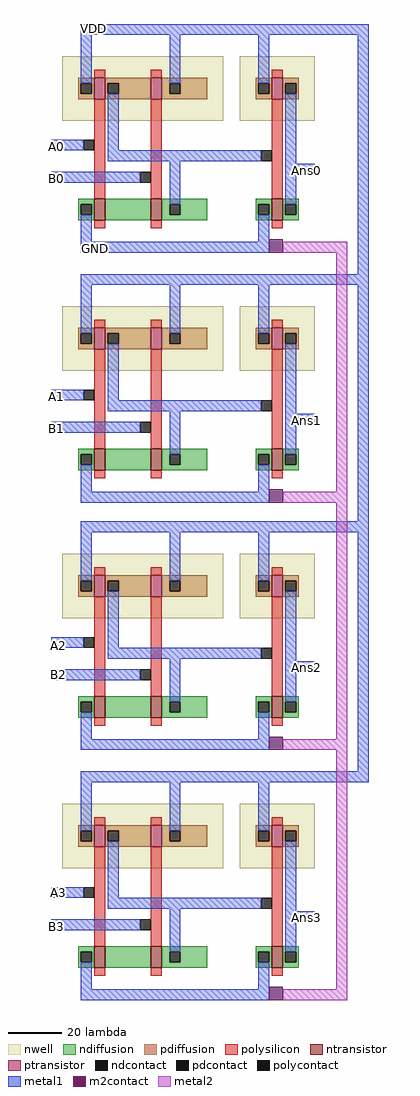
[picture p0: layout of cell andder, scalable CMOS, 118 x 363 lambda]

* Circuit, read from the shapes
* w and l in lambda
.subckt andder A0 A1 A2 A3 Ans0 Ans1 Ans2 Ans3 B0 B1 B2 B3 GND VDD
M1 n1 A3 GND VSUBS nfet w=8 l=4
M2 n2 A2 GND VSUBS nfet w=8 l=4
M3 n3 A1 GND VSUBS nfet w=8 l=4
M4 n4 A0 GND VSUBS nfet w=8 l=4
M5 n5 B3 n1 VSUBS nfet w=8 l=4
M6 n6 B2 n2 VSUBS nfet w=8 l=4
M7 n7 B1 n3 VSUBS nfet w=8 l=4
M8 n8 B0 n4 VSUBS nfet w=8 l=4
M9 Ans3 n5 GND VSUBS nfet w=8 l=4
M10 Ans2 n6 GND VSUBS nfet w=8 l=4
M11 Ans1 n7 GND VSUBS nfet w=8 l=4
M12 Ans0 n8 GND VSUBS nfet w=8 l=4
M13 n5 A3 VDD n9 pfet w=8 l=4
M14 n6 A2 VDD n10 pfet w=8 l=4
M15 n7 A1 VDD n11 pfet w=8 l=4
M16 n8 A0 VDD n12 pfet w=8 l=4
M17 VDD B3 n5 n9 pfet w=8 l=4
M18 VDD B2 n6 n10 pfet w=8 l=4
M19 VDD B1 n7 n11 pfet w=8 l=4
M20 VDD B0 n8 n12 pfet w=8 l=4
M21 Ans3 n5 VDD n13 pfet w=8 l=4
M22 Ans2 n6 VDD n14 pfet w=8 l=4
M23 Ans1 n7 VDD n15 pfet w=8 l=4
M24 Ans0 n8 VDD n16 pfet w=8 l=4
.ends

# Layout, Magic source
magic
tech scmos
<< nwell >>
rect 21 0 81 24
rect 87 0 115 24
rect 21 -93 81 -69
rect 87 -93 115 -69
rect 21 -185 81 -161
rect 87 -185 115 -161
rect 21 -278 81 -254
rect 87 -278 115 -254
<< ntransistor >>
rect 33 -37 37 -29
rect 54 -37 58 -29
rect 99 -37 103 -29
rect 33 -130 37 -122
rect 54 -130 58 -122
rect 99 -130 103 -122
rect 33 -222 37 -214
rect 54 -222 58 -214
rect 99 -222 103 -214
rect 33 -315 37 -307
rect 54 -315 58 -307
rect 99 -315 103 -307
<< ptransistor >>
rect 33 8 37 16
rect 54 8 58 16
rect 99 8 103 16
rect 33 -85 37 -77
rect 54 -85 58 -77
rect 99 -85 103 -77
rect 33 -177 37 -169
rect 54 -177 58 -169
rect 99 -177 103 -169
rect 33 -270 37 -262
rect 54 -270 58 -262
rect 99 -270 103 -262
<< ndiffusion >>
rect 27 -31 33 -29
rect 27 -35 28 -31
rect 32 -35 33 -31
rect 27 -37 33 -35
rect 37 -37 54 -29
rect 58 -31 75 -29
rect 58 -35 61 -31
rect 65 -35 75 -31
rect 58 -37 75 -35
rect 93 -31 99 -29
rect 93 -35 94 -31
rect 98 -35 99 -31
rect 93 -37 99 -35
rect 103 -31 109 -29
rect 103 -35 104 -31
rect 108 -35 109 -31
rect 103 -37 109 -35
rect 27 -124 33 -122
rect 27 -128 28 -124
rect 32 -128 33 -124
rect 27 -130 33 -128
rect 37 -130 54 -122
rect 58 -124 75 -122
rect 58 -128 61 -124
rect 65 -128 75 -124
rect 58 -130 75 -128
rect 93 -124 99 -122
rect 93 -128 94 -124
rect 98 -128 99 -124
rect 93 -130 99 -128
rect 103 -124 109 -122
rect 103 -128 104 -124
rect 108 -128 109 -124
rect 103 -130 109 -128
rect 27 -216 33 -214
rect 27 -220 28 -216
rect 32 -220 33 -216
rect 27 -222 33 -220
rect 37 -222 54 -214
rect 58 -216 75 -214
rect 58 -220 61 -216
rect 65 -220 75 -216
rect 58 -222 75 -220
rect 93 -216 99 -214
rect 93 -220 94 -216
rect 98 -220 99 -216
rect 93 -222 99 -220
rect 103 -216 109 -214
rect 103 -220 104 -216
rect 108 -220 109 -216
rect 103 -222 109 -220
rect 27 -309 33 -307
rect 27 -313 28 -309
rect 32 -313 33 -309
rect 27 -315 33 -313
rect 37 -315 54 -307
rect 58 -309 75 -307
rect 58 -313 61 -309
rect 65 -313 75 -309
rect 58 -315 75 -313
rect 93 -309 99 -307
rect 93 -313 94 -309
rect 98 -313 99 -309
rect 93 -315 99 -313
rect 103 -309 109 -307
rect 103 -313 104 -309
rect 108 -313 109 -309
rect 103 -315 109 -313
<< pdiffusion >>
rect 27 14 33 16
rect 27 10 28 14
rect 32 10 33 14
rect 27 8 33 10
rect 37 14 54 16
rect 37 10 38 14
rect 42 10 54 14
rect 37 8 54 10
rect 58 14 75 16
rect 58 10 61 14
rect 65 10 75 14
rect 58 8 75 10
rect 93 14 99 16
rect 93 10 94 14
rect 98 10 99 14
rect 93 8 99 10
rect 103 14 109 16
rect 103 10 104 14
rect 108 10 109 14
rect 103 8 109 10
rect 27 -79 33 -77
rect 27 -83 28 -79
rect 32 -83 33 -79
rect 27 -85 33 -83
rect 37 -79 54 -77
rect 37 -83 38 -79
rect 42 -83 54 -79
rect 37 -85 54 -83
rect 58 -79 75 -77
rect 58 -83 61 -79
rect 65 -83 75 -79
rect 58 -85 75 -83
rect 93 -79 99 -77
rect 93 -83 94 -79
rect 98 -83 99 -79
rect 93 -85 99 -83
rect 103 -79 109 -77
rect 103 -83 104 -79
rect 108 -83 109 -79
rect 103 -85 109 -83
rect 27 -171 33 -169
rect 27 -175 28 -171
rect 32 -175 33 -171
rect 27 -177 33 -175
rect 37 -171 54 -169
rect 37 -175 38 -171
rect 42 -175 54 -171
rect 37 -177 54 -175
rect 58 -171 75 -169
rect 58 -175 61 -171
rect 65 -175 75 -171
rect 58 -177 75 -175
rect 93 -171 99 -169
rect 93 -175 94 -171
rect 98 -175 99 -171
rect 93 -177 99 -175
rect 103 -171 109 -169
rect 103 -175 104 -171
rect 108 -175 109 -171
rect 103 -177 109 -175
rect 27 -264 33 -262
rect 27 -268 28 -264
rect 32 -268 33 -264
rect 27 -270 33 -268
rect 37 -264 54 -262
rect 37 -268 38 -264
rect 42 -268 54 -264
rect 37 -270 54 -268
rect 58 -264 75 -262
rect 58 -268 61 -264
rect 65 -268 75 -264
rect 58 -270 75 -268
rect 93 -264 99 -262
rect 93 -268 94 -264
rect 98 -268 99 -264
rect 93 -270 99 -268
rect 103 -264 109 -262
rect 103 -268 104 -264
rect 108 -268 109 -264
rect 103 -270 109 -268
<< ndcontact >>
rect 28 -35 32 -31
rect 61 -35 65 -31
rect 94 -35 98 -31
rect 104 -35 108 -31
rect 28 -128 32 -124
rect 61 -128 65 -124
rect 94 -128 98 -124
rect 104 -128 108 -124
rect 28 -220 32 -216
rect 61 -220 65 -216
rect 94 -220 98 -216
rect 104 -220 108 -216
rect 28 -313 32 -309
rect 61 -313 65 -309
rect 94 -313 98 -309
rect 104 -313 108 -309
<< pdcontact >>
rect 28 10 32 14
rect 38 10 42 14
rect 61 10 65 14
rect 94 10 98 14
rect 104 10 108 14
rect 28 -83 32 -79
rect 38 -83 42 -79
rect 61 -83 65 -79
rect 94 -83 98 -79
rect 104 -83 108 -79
rect 28 -175 32 -171
rect 38 -175 42 -171
rect 61 -175 65 -171
rect 94 -175 98 -171
rect 104 -175 108 -171
rect 28 -268 32 -264
rect 38 -268 42 -264
rect 61 -268 65 -264
rect 94 -268 98 -264
rect 104 -268 108 -264
<< polysilicon >>
rect 33 16 37 19
rect 54 16 58 19
rect 99 16 103 19
rect 33 -29 37 8
rect 54 -29 58 8
rect 99 -29 103 8
rect 33 -40 37 -37
rect 54 -40 58 -37
rect 99 -40 103 -37
rect 33 -77 37 -74
rect 54 -77 58 -74
rect 99 -77 103 -74
rect 33 -122 37 -85
rect 54 -122 58 -85
rect 99 -122 103 -85
rect 33 -133 37 -130
rect 54 -133 58 -130
rect 99 -133 103 -130
rect 33 -169 37 -166
rect 54 -169 58 -166
rect 99 -169 103 -166
rect 33 -214 37 -177
rect 54 -214 58 -177
rect 99 -214 103 -177
rect 33 -225 37 -222
rect 54 -225 58 -222
rect 99 -225 103 -222
rect 33 -262 37 -259
rect 54 -262 58 -259
rect 99 -262 103 -259
rect 33 -307 37 -270
rect 54 -307 58 -270
rect 99 -307 103 -270
rect 33 -318 37 -315
rect 54 -318 58 -315
rect 99 -318 103 -315
<< polycontact >>
rect 29 -11 33 -7
rect 50 -23 54 -19
rect 95 -15 99 -11
rect 29 -104 33 -100
rect 50 -116 54 -112
rect 95 -108 99 -104
rect 29 -196 33 -192
rect 50 -208 54 -204
rect 95 -200 99 -196
rect 29 -289 33 -285
rect 50 -301 54 -297
rect 95 -293 99 -289
<< metal1 >>
rect 28 32 135 36
rect 28 14 32 32
rect 61 14 65 32
rect 94 14 98 32
rect 17 -11 29 -7
rect 38 -11 42 10
rect 38 -15 95 -11
rect 17 -23 50 -19
rect 61 -31 65 -15
rect 104 -16 108 10
rect 104 -20 115 -16
rect 104 -31 108 -20
rect 28 -45 32 -35
rect 94 -45 98 -35
rect 28 -49 98 -45
rect 131 -57 135 32
rect 28 -61 135 -57
rect 28 -79 32 -61
rect 61 -79 65 -61
rect 94 -79 98 -61
rect 17 -104 29 -100
rect 38 -104 42 -83
rect 38 -108 95 -104
rect 17 -116 50 -112
rect 61 -124 65 -108
rect 104 -109 108 -83
rect 104 -113 115 -109
rect 104 -124 108 -113
rect 28 -138 32 -128
rect 94 -138 98 -128
rect 28 -142 98 -138
rect 131 -149 135 -61
rect 28 -153 135 -149
rect 28 -171 32 -153
rect 61 -171 65 -153
rect 94 -171 98 -153
rect 17 -196 29 -192
rect 38 -196 42 -175
rect 38 -200 95 -196
rect 17 -208 50 -204
rect 61 -216 65 -200
rect 104 -201 108 -175
rect 104 -205 115 -201
rect 104 -216 108 -205
rect 28 -230 32 -220
rect 94 -230 98 -220
rect 28 -234 98 -230
rect 131 -242 135 -153
rect 28 -246 135 -242
rect 28 -264 32 -246
rect 61 -264 65 -246
rect 94 -264 98 -246
rect 17 -289 29 -285
rect 38 -289 42 -268
rect 38 -293 95 -289
rect 17 -301 50 -297
rect 61 -309 65 -293
rect 104 -294 108 -268
rect 104 -298 115 -294
rect 104 -309 108 -298
rect 28 -323 32 -313
rect 94 -323 98 -313
rect 28 -327 98 -323
<< m2contact >>
rect 98 -49 103 -44
rect 98 -142 103 -137
rect 98 -234 103 -229
rect 98 -327 103 -322
<< metal2 >>
rect 103 -49 127 -45
rect 123 -138 127 -49
rect 103 -142 127 -138
rect 123 -230 127 -142
rect 103 -234 127 -230
rect 123 -323 127 -234
rect 103 -327 127 -323
<< labels >>
rlabel metal1 18 -10 20 -9 1 A0
rlabel metal1 18 -22 20 -21 1 B0
rlabel metal1 18 -103 20 -102 3 A1
rlabel metal1 18 -115 20 -114 3 B1
rlabel metal1 111 -19 113 -18 1 Ans0
rlabel metal1 31 34 34 35 5 VDD
rlabel metal1 111 -112 113 -111 1 Ans1
rlabel metal1 32 -48 35 -47 1 GND
rlabel metal1 18 -196 21 -194 3 A2
rlabel metal1 18 -207 21 -205 3 B2
rlabel metal1 18 -288 21 -286 3 A3
rlabel metal1 18 -300 20 -299 3 B3
rlabel metal1 111 -204 113 -203 1 Ans2
rlabel metal1 111 -297 113 -296 1 Ans3
<< end >>
